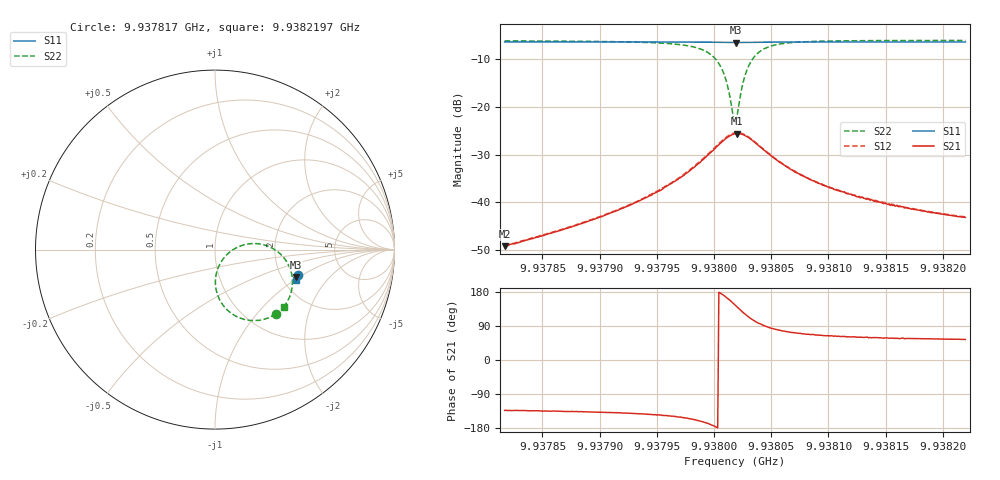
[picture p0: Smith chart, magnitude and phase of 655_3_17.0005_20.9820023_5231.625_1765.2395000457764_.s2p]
#  HZ  S  RI  R  50.00
! Rohde & Schwarz Vector Network Analyzer
! Rohde-Schwarz,ZNB20-2Port,1311601062101988,3.16
! Created: UTC 3/20/2024, 11:21:25 PM
! freq[Hz]  re:S11  im:S11  re:S21  im:S21  re:S12  im:S12  re:S22  im:S22
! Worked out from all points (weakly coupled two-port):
!   401 points, 9.937817 GHz to 9.9382197 GHz, reference 50 ohm
!   highest |S21| = -25.57 dB at 9.9380204 GHz (marker M1); lowest = -49.2 dB at 9.937817 GHz (marker M2)
!   lowest |S11| = -6.5 dB at 9.9380194 GHz (marker M3), VSWR 2.80, Z = 119 - j46.6 ohm
!   |S11| at or under -10 dB: nowhere
!   |S22| runs from -23.4 to -6.1 dB; largest |S21 - S12| = 0.0022
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9.93781698e9  0.4599 -0.1422  -0.00237 -0.00254  -0.00243 -0.00252  0.3393 -0.3575
9.93788444e9  0.458 -0.1469  -0.00432 -0.00415  -0.00449 -0.00413  0.3178 -0.3709
9.93792069e9  0.4568 -0.1494  -0.00669 -0.00559  -0.00685 -0.00563  0.2956 -0.381
9.9379519e9  0.4557 -0.1517  -0.0107 -0.00756  -0.0112 -0.00744  0.2574 -0.392
9.93798311e9  0.4536 -0.1543  -0.0219 -0.00887  -0.0224 -0.00888  0.1653 -0.3896
9.93799922e9  0.4515 -0.1552  -0.0347 -0.00415  -0.0359 -0.00357  0.0641 -0.3321
9.93800527e9  0.4504 -0.1549  -0.0413 0.00212  -0.0424 0.0029  0.0222 -0.2718
9.93800929e9  0.4496 -0.1544  -0.0448 0.00891  -0.0457 0.01  0.00442 -0.2119
9.93801231e9  0.4492 -0.1539  -0.046 0.0152  -0.0469 0.0168  0.00341 -0.1577
9.93801634e9  0.449 -0.1531  -0.045 0.025  -0.0455 0.0267  0.027 -0.0808
9.93801836e9  0.4493 -0.1526  -0.0431 0.0297  -0.0433 0.0316  0.0509 -0.0446
9.93801936e9  0.4491 -0.1523  -0.0417 0.0319  -0.0418 0.0341  0.0656 -0.0287
9.93802037e9  0.4494 -0.152  -0.0401 0.0341  -0.0401 0.0361  0.082 -0.014
9.9380244e9  0.45 -0.1513  -0.0321 0.0405  -0.0315 0.0423  0.1573 0.0253
9.93802742e9  0.4507 -0.1511  -0.0253 0.0429  -0.0244 0.0448  0.2161 0.0338
9.93803145e9  0.4516 -0.151  -0.0166 0.0436  -0.0155 0.0447  0.2855 0.0226
9.93803749e9  0.4527 -0.1516  -0.00661 0.0403  -0.00569 0.041  0.3591 -0.0199
9.9380536e9  0.4539 -0.1538  0.00439 0.028  0.00514 0.0283  0.4269 -0.1345
9.93808582e9  0.4537 -0.1573  0.00641 0.0157  0.00702 0.0157  0.4243 -0.2385
9.93811703e9  0.4527 -0.1598  0.00599 0.0107  0.00616 0.0108  0.4096 -0.2769
9.93815328e9  0.4517 -0.1626  0.00516 0.008  0.00524 0.00807  0.3969 -0.2992
9.93821974e9  0.4499 -0.1671  0.00407 0.00564  0.00422 0.00565  0.3818 -0.3196
